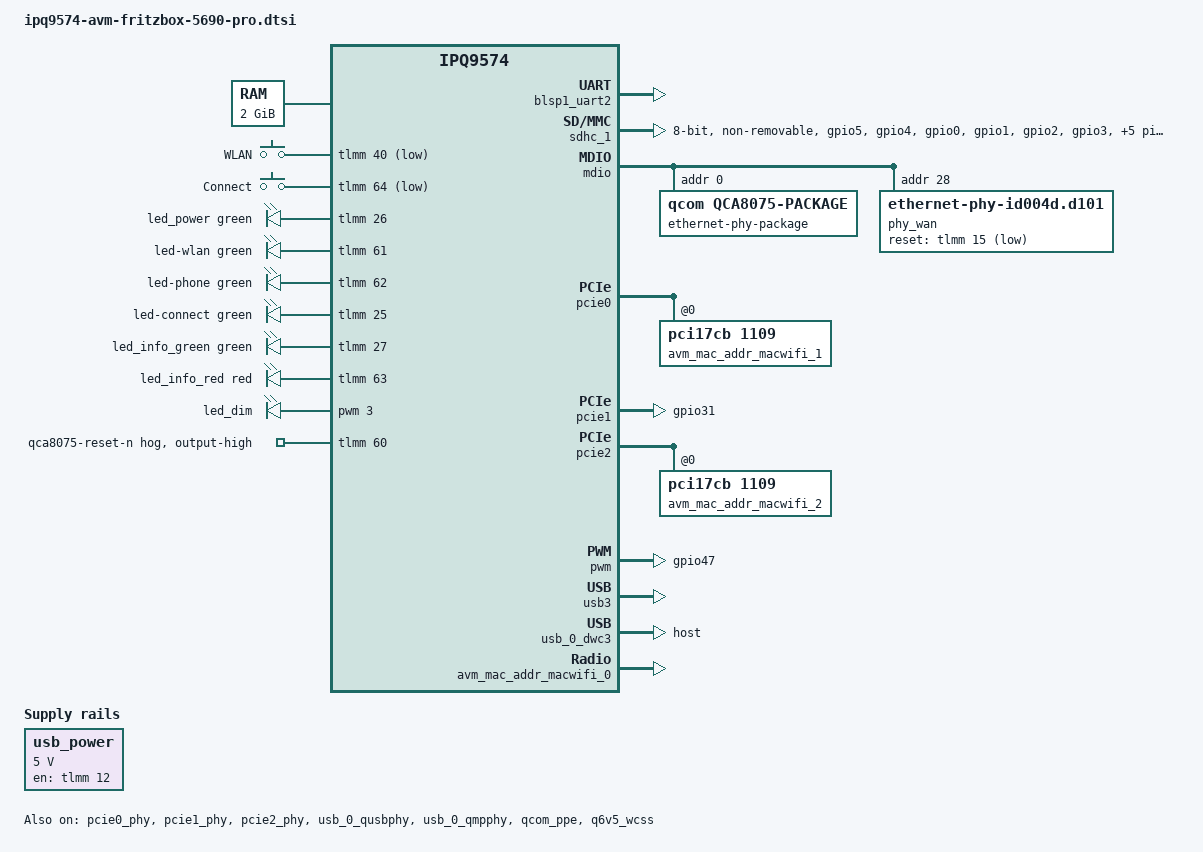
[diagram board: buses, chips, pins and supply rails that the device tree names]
// SPDX-License-Identifier: (GPL-2.0-only OR BSD-2-Clause)

#include "ipq9574.dtsi"

#include <dt-bindings/gpio/gpio.h>
#include <dt-bindings/input/input.h>
#include <dt-bindings/leds/common.h>

/ {
	aliases {
		serial0 = &blsp1_uart2;
		ethernet0 = &avm_mac_addr_maceth_0;
		ethernet1 = &avm_mac_addr_maceth_1;
		ethernet2 = &avm_mac_addr_maceth_2;
		ethernet3 = &avm_mac_addr_maceth_3;
		ethernet4 = &avm_mac_addr_maceth_4;
		led-boot = &led_power;
		led-failsafe = &led_info_red;
		led-running = &led_power;
		led-upgrade = &led_info_green;
	};

	chosen {
		stdout-path = "serial0:115200n8";
	};

	memory@40000000 {
		device_type = "memory";
		reg = <0x0 0x40000000 0x0 0x80000000>;
	};

	reserved-memory {
		m3-dump@4d600000 {
			reg = <0x0 0x4d600000 0x0 0x100000>;
			no-map;
		};

		q6-etr@4d700000 {
			reg = <0x0 0x4d700000 0x0 0x100000>;
			no-map;
		};

		caldb@4d800000 {
			reg = <0x0 0x4d800000 0x0 0x500000>;
			no-map;
		};

		wlan-pcie0@4dd00000 {
			reg = <0x0 0x4dd00000 0x0 0x3200000>;
			no-map;
		};

		wlan-pcie2@50f00000 {
			reg = <0x0 0x50f00000 0x0 0x3200000>;
			no-map;
		};

		ramoops@60000000 {
			compatible = "ramoops";
			reg = <0x0 0x60000000 0x0 0x100000>;
			record-size = <0x40000>;
			console-size = <0x40000>;
			pmsg-size = <0x40000>;
		};

		tz-log@60100000 {
			reg = <0x0 0x60100000 0x0 0x100000>;
			no-map;
		};
	};

	usb_power: regulator-usb-power {
		compatible = "regulator-fixed";
		regulator-name = "usb-vbus";
		regulator-min-microvolt = <5000000>;
		regulator-max-microvolt = <5000000>;
		gpio = <&tlmm 12 GPIO_ACTIVE_HIGH>;
		enable-active-high;
		regulator-boot-on;
		regulator-always-on;
	};

	keys {
		compatible = "gpio-keys";
		pinctrl-0 = <&keys_pins>;
		pinctrl-names = "default";

		wlan_button: wlan {
			label = "WLAN";
			linux,code = <KEY_WLAN>;
			gpios = <&tlmm 40 GPIO_ACTIVE_LOW>;
			debounce-interval = <60>;
		};

		connect {
			label = "Connect";
			linux,code = <KEY_WPS_BUTTON>;
			gpios = <&tlmm 64 GPIO_ACTIVE_LOW>;
			debounce-interval = <60>;
		};
	};

	leds {
		compatible = "gpio-leds";

		led_power: led-power {
			color = <LED_COLOR_ID_GREEN>;
			function = LED_FUNCTION_POWER;
			gpios = <&tlmm 26 GPIO_ACTIVE_HIGH>;
			default-state = "on";
		};

		led-wlan {
			color = <LED_COLOR_ID_GREEN>;
			function = LED_FUNCTION_WLAN;
			gpios = <&tlmm 61 GPIO_ACTIVE_HIGH>;
		};

		led-phone {
			color = <LED_COLOR_ID_GREEN>;
			function = "phone";
			gpios = <&tlmm 62 GPIO_ACTIVE_HIGH>;
		};

		led-connect {
			color = <LED_COLOR_ID_GREEN>;
			function = LED_FUNCTION_WPS;
			gpios = <&tlmm 25 GPIO_ACTIVE_HIGH>;
		};

		led_info_green: led-info-green {
			color = <LED_COLOR_ID_GREEN>;
			function = LED_FUNCTION_INDICATOR;
			gpios = <&tlmm 27 GPIO_ACTIVE_HIGH>;
		};

		led_info_red: led-info-red {
			color = <LED_COLOR_ID_RED>;
			function = LED_FUNCTION_INDICATOR;
			gpios = <&tlmm 63 GPIO_ACTIVE_HIGH>;
		};
	};

	led-dimmer {
		compatible = "pwm-leds";

		led_dim: led {
			function = LED_FUNCTION_BACKLIGHT;
			pwms = <&pwm 3 1000000 0>;
			max-brightness = <255>;
			default-state = "on";
		};
	};
};

&blsp1_uart2 {
	pinctrl-0 = <&uart2_pins>;
	pinctrl-names = "default";
	status = "okay";
};

&rpm_requests {
	regulators {
		compatible = "qcom,rpm-mp5496-regulators";

		ipq9574_s1: s1 {
			regulator-min-microvolt = <725000>;
			regulator-max-microvolt = <1075000>;
		};
	};
};

&sdhc_1 {
	bus-width = <8>;
	max-frequency = <384000000>;
	mmc-ddr-1_8v;
	mmc-hs200-1_8v;
	mmc-hs400-1_8v;
	non-removable;
	pinctrl-0 = <&sdc_pins>;
	pinctrl-names = "default";
	status = "okay";
};

&mdio {
	pinctrl-0 = <&mdio_pins>;
	pinctrl-names = "default";
	status = "okay";

	ethernet-phy-package@0 {
		compatible = "qcom,qca8075-package";
		#address-cells = <1>;
		#size-cells = <0>;
		reg = <0>;
		qcom,package-mode = "psgmii";

		phy_lan1: ethernet-phy@0 {
			compatible = "ethernet-phy-ieee802.3-c22";
			reg = <0>;
		};

		phy_lan2: ethernet-phy@1 {
			compatible = "ethernet-phy-ieee802.3-c22";
			reg = <1>;
		};

		phy_lan3: ethernet-phy@2 {
			compatible = "ethernet-phy-ieee802.3-c22";
			reg = <2>;
		};

		phy_lan4: ethernet-phy@3 {
			compatible = "ethernet-phy-ieee802.3-c22";
			reg = <3>;
		};
	};

	phy_wan: ethernet-phy@1c {
		compatible = "ethernet-phy-id004d.d101";
		reg = <28>;
		reset-gpios = <&tlmm 15 GPIO_ACTIVE_LOW>;
		reset-assert-us = <10000>;
		reset-deassert-us = <10000>;
	};
};

&pcie0 {
	perst-gpios = <&tlmm 23 GPIO_ACTIVE_LOW>;
	status = "okay";

	pcie@0 {
		device_type = "pci";
		reg = <0 0 0 0 0>;
		#address-cells = <3>;
		#size-cells = <2>;
		ranges;

		avm_mac_addr_macwifi_1: wifi@0 {
			compatible = "pci17cb,1109";
			reg = <0 0 0 0 0>;
			mac-address = [00 00 00 00 00 00];
			avm,mac-name = "macwifi_1";
			avm,mac-type = <3>;
		};
	};
};

&pcie0_phy {
	status = "okay";
};

&pcie1 {
	pinctrl-0 = <&dsl_reset_pins>;
	pinctrl-names = "default";
	perst-gpios = <&tlmm 31 GPIO_ACTIVE_LOW>;
	status = "okay";

	pcie@0 {
		device_type = "pci";
		reg = <0 0 0 0 0>;
		#address-cells = <3>;
		#size-cells = <2>;
		ranges;

		avm_mac_addr_maca: dsl@0 {
			reg = <0 0 0 0 0>;
			mac-address = [00 00 00 00 00 00];
			avm,mac-name = "maca";
		};
	};
};

&pcie1_phy {
	status = "okay";
};

&pcie2 {
	perst-gpios = <&tlmm 29 GPIO_ACTIVE_LOW>;
	status = "okay";

	pcie@0 {
		device_type = "pci";
		reg = <0 0 0 0 0>;
		#address-cells = <3>;
		#size-cells = <2>;
		ranges;

		avm_mac_addr_macwifi_2: wifi@0 {
			compatible = "pci17cb,1109";
			reg = <0 0 0 0 0>;
			mac-address = [00 00 00 00 00 00];
			avm,mac-name = "macwifi_2";
			avm,mac-type = <3>;
		};
	};
};

&pcie2_phy {
	status = "okay";
};

&pwm {
	pinctrl-0 = <&pwm_pins>;
	pinctrl-names = "default";
	status = "okay";
};

&usb_0_qusbphy {
	status = "okay";
};

&usb_0_qmpphy {
	status = "okay";
};

&usb3 {
	status = "okay";
};

&usb_0_dwc3 {
	dr_mode = "host";
};

&ref_48mhz_clk {
	clock-div = <1>;
	clock-mult = <2>;
};

&xo_board_clk {
	clock-div = <2>;
	clock-mult = <1>;
};

&xo_clk {
	clock-frequency = <24000000>;
};

&sleep_clk {
	clock-frequency = <32000>;
};

&tlmm {
	/* Package children do not have individual MDIO reset GPIO handling. */
	qca8075-reset {
		gpio-hog;
		gpios = <60 GPIO_ACTIVE_HIGH>;
		output-high;
		line-name = "qca8075-reset-n";
	};

	keys_pins: keys-state {
		pins = "gpio40", "gpio64";
		function = "gpio";
		drive-strength = <2>;
		bias-disable;
	};

	dsl_reset_pins: dsl-reset-state {
		pins = "gpio31";
		function = "gpio";
		drive-strength = <8>;
		bias-disable;
		output-low;
	};

	pwm_pins: pwm-state {
		pins = "gpio47";
		function = "pwm";
		drive-strength = <8>;
		bias-disable;
	};

	sdc_pins: sdc-state {
		clk-pins {
			pins = "gpio5";
			function = "sdc_clk";
			drive-strength = <8>;
			bias-disable;
		};

		cmd-pins {
			pins = "gpio4";
			function = "sdc_cmd";
			drive-strength = <8>;
			bias-pull-up;
		};

		data-pins {
			pins = "gpio0", "gpio1", "gpio2", "gpio3",
			       "gpio6", "gpio7", "gpio8", "gpio9";
			function = "sdc_data";
			drive-strength = <8>;
			bias-pull-up;
		};

		rclk-pins {
			pins = "gpio10";
			function = "sdc_rclk";
			drive-strength = <8>;
			bias-pull-down;
		};
	};
};

&qcom_ppe {
	status = "okay";

	ethernet-ports {
		#address-cells = <1>;
		#size-cells = <0>;

		avm_mac_addr_maceth_0: port@1 {
			mac-address = [00 00 00 00 00 00];
			avm,mac-name = "maceth_0";
			reg = <1>;
			phy-mode = "psgmii";
			phy-handle = <&phy_lan1>;
			pcs-handle = <&pcs0_ch0>;
			label = "lan1";
			managed = "in-band-status";

			clocks = <&nsscc NSS_CC_PORT1_MAC_CLK>,
				 <&nsscc NSS_CC_PORT1_RX_CLK>,
				 <&nsscc NSS_CC_PORT1_TX_CLK>;
			clock-names = "mac", "rx", "tx";
			resets = <&nsscc PORT1_MAC_ARES>,
				 <&nsscc PORT1_RX_ARES>,
				 <&nsscc PORT1_TX_ARES>;
			reset-names = "mac", "rx", "tx";
		};

		avm_mac_addr_maceth_1: port@2 {
			mac-address = [00 00 00 00 00 00];
			avm,mac-name = "maceth_1";
			reg = <2>;
			phy-mode = "psgmii";
			phy-handle = <&phy_lan2>;
			pcs-handle = <&pcs0_ch1>;
			label = "lan2";
			managed = "in-band-status";

			clocks = <&nsscc NSS_CC_PORT2_MAC_CLK>,
				 <&nsscc NSS_CC_PORT2_RX_CLK>,
				 <&nsscc NSS_CC_PORT2_TX_CLK>;
			clock-names = "mac", "rx", "tx";
			resets = <&nsscc PORT2_MAC_ARES>,
				 <&nsscc PORT2_RX_ARES>,
				 <&nsscc PORT2_TX_ARES>;
			reset-names = "mac", "rx", "tx";
		};

		avm_mac_addr_maceth_2: port@3 {
			mac-address = [00 00 00 00 00 00];
			avm,mac-name = "maceth_2";
			reg = <3>;
			phy-mode = "psgmii";
			phy-handle = <&phy_lan3>;
			pcs-handle = <&pcs0_ch2>;
			label = "lan3";
			managed = "in-band-status";

			clocks = <&nsscc NSS_CC_PORT3_MAC_CLK>,
				 <&nsscc NSS_CC_PORT3_RX_CLK>,
				 <&nsscc NSS_CC_PORT3_TX_CLK>;
			clock-names = "mac", "rx", "tx";
			resets = <&nsscc PORT3_MAC_ARES>,
				 <&nsscc PORT3_RX_ARES>,
				 <&nsscc PORT3_TX_ARES>;
			reset-names = "mac", "rx", "tx";
		};

		avm_mac_addr_maceth_3: port@4 {
			mac-address = [00 00 00 00 00 00];
			avm,mac-name = "maceth_3";
			reg = <4>;
			phy-mode = "psgmii";
			phy-handle = <&phy_lan4>;
			pcs-handle = <&pcs0_ch3>;
			label = "lan4";
			managed = "in-band-status";

			clocks = <&nsscc NSS_CC_PORT4_MAC_CLK>,
				 <&nsscc NSS_CC_PORT4_RX_CLK>,
				 <&nsscc NSS_CC_PORT4_TX_CLK>;
			clock-names = "mac", "rx", "tx";
			resets = <&nsscc PORT4_MAC_ARES>,
				 <&nsscc PORT4_RX_ARES>,
				 <&nsscc PORT4_TX_ARES>;
			reset-names = "mac", "rx", "tx";
		};

		avm_mac_addr_maceth_4: port@6 {
			mac-address = [00 00 00 00 00 00];
			avm,mac-name = "maceth_4";
			reg = <6>;
			phy-mode = "2500base-x";
			phy-handle = <&phy_wan>;
			pcs-handle = <&pcs2_ch0>;
			label = "wan";

			clocks = <&nsscc NSS_CC_PORT6_MAC_CLK>,
				 <&nsscc NSS_CC_PORT6_RX_CLK>,
				 <&nsscc NSS_CC_PORT6_TX_CLK>;
			clock-names = "mac", "rx", "tx";
			resets = <&nsscc PORT6_MAC_ARES>,
				 <&nsscc PORT6_RX_ARES>,
				 <&nsscc PORT6_TX_ARES>;
			reset-names = "mac", "rx", "tx";
		};
	};
};

&q6v5_wcss {
	status = "okay";
};

&soc {
	avm_mac_addr_macwifi_0: wifi@c000000 {
		mac-address = [00 00 00 00 00 00];
		avm,mac-name = "macwifi_0";
		avm,mac-type = <3>;
		qcom,bdf-addr = <0x4b700000>;
		qcom,caldb-addr = <0x4d800000>;
		status = "okay";
	};
};
